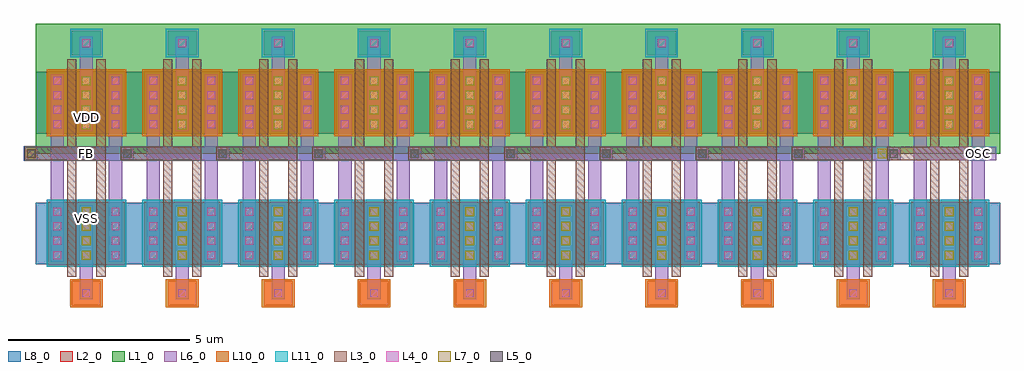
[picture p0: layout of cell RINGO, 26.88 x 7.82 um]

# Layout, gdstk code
from math import pi, radians
import gdstk
lib = gdstk.Library(unit=1e-6, precision=1e-09)
def R(c, l, rs):  # rectangles x0, y0, x1, y1
    for r in rs: c.add(gdstk.rectangle(r[:2], r[2:], *l))
def A(c, l, x, y, w, h, nx, ny, dx, dy):  # array of equal rectangles
    R(c, l, [(x+i*dx, y+j*dy, x+i*dx+w, y+j*dy+h) for i in range(nx) for j in range(ny)])
L1_0 = (1, 0)
L2_0 = (2, 0)
L3_0 = (3, 0)
L4_0 = (4, 0)
L5_0 = (5, 0)
L6_0 = (6, 0)
L7_0 = (7, 0)
L8_0 = (8, 0)
L10_0 = (10, 0)
L11_0 = (11, 0)

trans = lib.new_cell('TRANS')
R(trans, L2_0, [(-0.65,-0.475,0.65,1.275)])
A(trans, L4_0, -0.51, -0.31, 0.22, 0.22, 1, 4, 0, 0.4)
A(trans, L4_0, 0.29, -0.31, 0.22, 0.22, 1, 4, 0, 0.4)
R(trans, L6_0, [(-0.58,-0.38,-0.22,1.18), (0.22,-0.38,0.58,1.18)])
trans.add(gdstk.FlexPath([(0,-0.8),(0,1.6)], 0.25, ends="flush", simple_path=True, layer=3, datatype=0))  # L3_0

inv2 = lib.new_cell('INV2')
R(inv2, L1_0, [(-1.4,1.8,1.4,5.38)])
R(inv2, L2_0, [(-0.4,-2.39,0.4,-1.71), (-0.4,4.5,0.4,5.18)])
R(inv2, L3_0, [(-0.525,-0.25,-0.275,2.25), (0.275,-0.25,0.525,2.25), (-1.7,1.62,0.4,1.98)])
R(inv2, L4_0, [(-0.11,-2.16,0.11,-1.94), (-0.11,4.73,0.11,4.95)])
R(inv2, L5_0, [(-1.63,1.69,-1.41,1.91)])
R(inv2, L6_0, [(-0.98,-0.42,-0.62,2.42)])
A(inv2, L7_0, -0.125, -1.125, 0.25, 0.25, 1, 4, 0, 0.4)
A(inv2, L7_0, -0.125, 2.475, 0.25, 0.25, 1, 4, 0, 0.4)
R(inv2, L8_0, [(-1.4,-1.25,1.4,0.45), (-1.4,2.35,1.4,4.05)])
R(inv2, L10_0, [(-0.45,-2.44,0.45,-1.66), (-1.1,2.275,1.1,4.125)])
R(inv2, L11_0, [(-1.1,-1.325,1.1,0.525), (-0.45,4.45,0.45,5.23)])
inv2.add(gdstk.FlexPath([(0.8,0.2),(0.8,2.42)], 0.36, ends="flush", simple_path=True, layer=6, datatype=0))  # L6_0
inv2.add(gdstk.FlexPath([(-0.92,1.8),(1.3,1.8)], 0.36, ends="flush", simple_path=True, layer=6, datatype=0))  # L6_0
inv2.add(gdstk.Reference(trans, (-0.4,0), x_reflection=True))
inv2.add(gdstk.Reference(trans, (-0.4,2.8)))
inv2.add(gdstk.Reference(trans, (0.4,0), rotation=pi))
inv2.add(gdstk.Reference(trans, (0.4,2.8), rotation=pi, x_reflection=True))
inv2.add(gdstk.Label('IN', (-0.8,1.8), layer=3, texttype=1))
inv2.add(gdstk.Label('OUT', (0.8,1.8), layer=6, texttype=1))
inv2.add(gdstk.Label('VDD', (1.25,2.8), layer=8, texttype=1))
inv2.add(gdstk.Label('VSS', (1.24,-0.09), layer=8, texttype=1))

inv2pair = lib.new_cell('INV2PAIR')
r = gdstk.Reference(inv2, (1.7,0.8)); r.repetition = gdstk.Repetition(2, 1, v1=(2.64,0), v2=(0,0)); inv2pair.add(r)

ringo = lib.new_cell('RINGO')
A(ringo, L6_0, -0.18, -2.22, 0.36, 1.12, 10, 2, 2.64, 6.12)
R(ringo, L6_0, [(-1.7,1.62,-1.34,1.98)])
R(ringo, L7_0, [(-1.645,1.675,-1.395,1.925), (21.795,1.675,22.045,1.925), (24.435,1.675,24.685,1.925)])
R(ringo, L8_0, [(-1.72,1.6,22.12,2), (24.36,1.6,24.76,2)])
r = gdstk.Reference(inv2pair, (-1.7,-0.8)); r.repetition = gdstk.Repetition(5, 1, v1=(5.28,0), v2=(0,0)); ringo.add(r)
ringo.add(gdstk.Label('OSC', (24.56,1.8), layer=8, texttype=1))
ringo.add(gdstk.Label('FB', (0,1.8), layer=8, texttype=1))
ringo.add(gdstk.Label('VSS', (0,0), layer=8, texttype=1))
ringo.add(gdstk.Label('VDD', (0,2.8), layer=8, texttype=1))

lib.write_gds('RINGO.gds')
